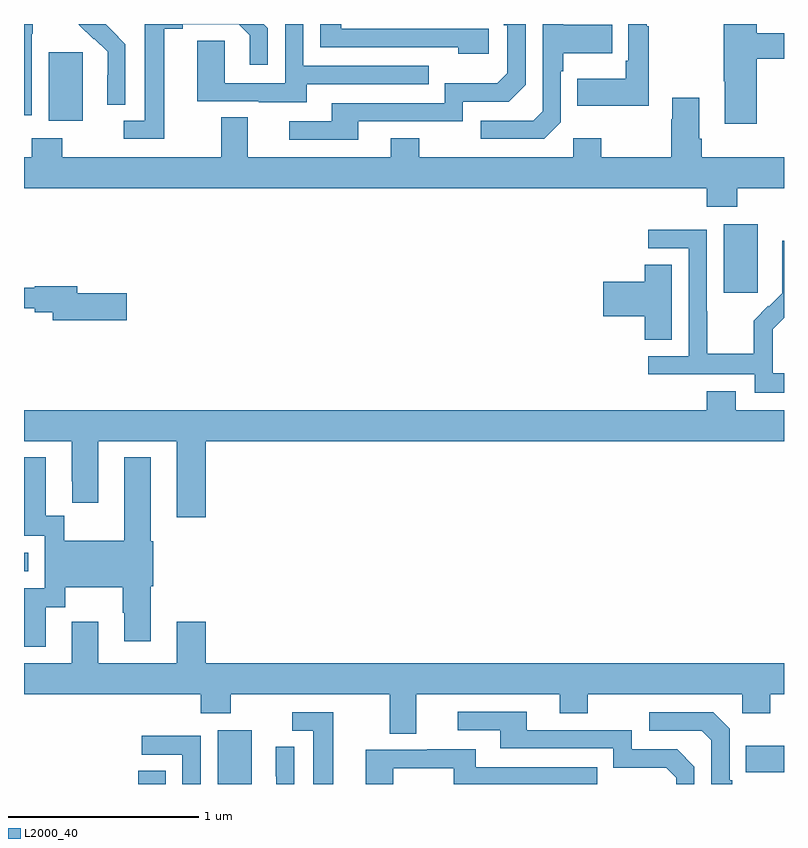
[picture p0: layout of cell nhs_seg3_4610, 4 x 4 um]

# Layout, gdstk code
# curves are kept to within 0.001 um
import gdstk
lib = gdstk.Library(unit=1e-6, precision=1e-09)
def R(c, l, rs):  # rectangles x0, y0, x1, y1
    for r in rs: c.add(gdstk.rectangle(r[:2], r[2:], *l))
def P(c, l, *ps):  # polygons
    for p in ps: c.add(gdstk.Polygon(p, *l))
L2000_40 = (2000, 40)

nhs_seg3_4610 = lib.new_cell('nhs_seg3_4610')
R(nhs_seg3_4610, L2000_40, [(357.602,744.4,357.745,744.47), (358.019,744.4,358.198,744.682), (360.799,744.461,361,744.601), (357,745.521,357.023,745.617), (360.683,746.985,360.862,747.346), (357.131,747.89,357.31,748.251)])
P(nhs_seg3_4610, L2000_40, [(358.489,748.083),(359.129,748.083),(359.129,748.179),(358.47,748.179),(358.47,748.4),(358.374,748.4),(358.374,748.089),(358.056,748.089),(358.056,748.313),(357.911,748.313),(357.911,747.993),(358.235,747.993),(358.235,747.989),(358.489,747.989)],
  [(359.826,747.882),(359.826,748.151),(359.839,748.151),(359.839,748.247),(360.095,748.247),(360.095,748.395),(359.839,748.395),(359.839,748.4),(359.73,748.4),(359.73,747.942),(359.679,747.891),(359.403,747.891),(359.403,747.795),(359.739,747.795)],
  [(360.289,748.387),(360.277,748.387),(360.277,748.4),(360.18,748.4),(360.18,748.207),(360.168,748.207),(360.168,748.111),(359.911,748.111),(359.911,747.971),(360.289,747.971)],
  [(359.446,748.374),(358.669,748.374),(358.669,748.4),(358.56,748.4),(358.56,748.278),(359.285,748.278),(359.285,748.244),(359.446,748.244)],
  [(357.534,748.294),(357.43,748.4),(357.289,748.4),(357.289,748.397),(357.366,748.32),(357.369,748.323),(357.44,748.253),(357.44,748.13),(357.438,748.13),(357.438,747.976),(357.534,747.976)],
  [(357.042,748.348),(357.045,748.348),(357.045,748.4),(357,748.4),(357,747.919),(357.042,747.919)],
  [(357.739,748.376),(357.835,748.376),(357.835,748.398),(358.13,748.398),(358.187,748.341),(358.187,748.185),(358.284,748.185),(358.284,748.378),(358.262,748.4),(357.634,748.4),(357.635,747.891),(357.525,747.891),(357.525,747.795),(357.739,747.795)],
  [(360.857,748.216),(361,748.216),(361,748.352),(360.857,748.352),(360.857,748.4),(360.682,748.4),(360.682,748.099),(360.689,748.099),(360.689,747.876),(360.857,747.876)],
  [(358.759,747.888),(359.31,747.888),(359.31,747.99),(359.55,747.99),(359.64,748.08),(359.64,748.4),(359.524,748.4),(359.524,748.394),(359.544,748.394),(359.544,748.14),(359.491,748.087),(359.214,748.087),(359.214,747.984),(358.619,747.984),(358.619,747.888),(358.395,747.888),(358.395,747.792),(358.759,747.792)],
  [(360.753,747.536),(361,747.536),(361,747.7),(360.566,747.7),(360.566,747.796),(360.553,747.796),(360.553,748.012),(360.413,748.012),(360.413,747.899),(360.406,747.899),(360.406,747.7),(360.039,747.7),(360.039,747.799),(359.892,747.799),(359.892,747.7),(359.079,747.7),(359.079,747.799),(358.931,747.799),(358.931,747.7),(358.177,747.7),(358.177,747.908),(358.037,747.908),(358.037,747.7),(357.201,747.7),(357.201,747.799),(357.041,747.799),(357.041,747.7),(357,747.7),(357,747.536),(360.593,747.536),(360.593,747.437),(360.753,747.437)],
  [(361,746.563),(360.942,746.563),(360.942,746.697),(360.94,746.697),(360.94,746.794),(361,746.854),(361,747.26),(360.99,747.26),(360.99,747.106),(360.992,747.106),(360.992,746.984),(360.921,746.913),(360.918,746.916),(360.841,746.839),(360.841,746.665),(360.597,746.665),(360.597,746.888),(360.594,746.888),(360.594,747.318),(360.285,747.318),(360.285,747.219),(360.498,747.219),(360.498,746.652),(360.285,746.652),(360.285,746.556),(360.846,746.556),(360.846,746.459),(361,746.459)],
  [(360.409,747.134),(360.266,747.134),(360.266,747.044),(360.048,747.044),(360.048,746.861),(360.266,746.861),(360.266,746.737),(360.409,746.737)],
  [(357.541,746.984),(357.28,746.984),(357.28,747.02),(357.056,747.02),(357.056,747.013),(357,747.013),(357,746.903),(357.056,746.903),(357.056,746.884),(357.152,746.884),(357.152,746.842),(357.541,746.842)],
  [(357.956,746.204),(361,746.204),(361,746.368),(360.745,746.368),(360.745,746.467),(360.593,746.467),(360.593,746.368),(357,746.368),(357,746.204),(357.251,746.204),(357.251,745.993),(357.254,745.993),(357.254,745.881),(357.391,745.881),(357.391,746.204),(357.803,746.204),(357.803,745.803),(357.956,745.803)],
  [(357.115,745.33),(357.217,745.33),(357.217,745.436),(357.52,745.436),(357.52,745.302),(357.527,745.302),(357.527,745.152),(357.667,745.152),(357.667,745.44),(357.68,745.44),(357.68,745.677),(357.667,745.677),(357.667,746.119),(357.527,746.119),(357.527,745.681),(357.213,745.681),(357.213,745.811),(357.115,745.811),(357.115,746.119),(357,746.119),(357,745.707),(357.108,745.707),(357.108,745.431),(357,745.431),(357,745.122),(357.115,745.122)],
  [(357.251,745.255),(357.251,745.036),(357,745.036),(357,744.872),(357.929,744.872),(357.929,744.773),(358.089,744.773),(358.089,744.872),(358.925,744.872),(358.925,744.664),(359.065,744.664),(359.065,744.872),(359.819,744.872),(359.819,744.773),(359.967,744.773),(359.967,744.872),(360.78,744.872),(360.78,744.773),(360.927,744.773),(360.927,744.872),(361,744.872),(361,745.036),(357.956,745.036),(357.956,745.255),(357.803,745.255),(357.803,745.036),(357.391,745.036),(357.391,745.255)],
  [(360.528,744.492),(360.438,744.582),(360.198,744.582),(360.198,744.684),(359.647,744.684),(359.647,744.78),(359.283,744.78),(359.283,744.684),(359.507,744.684),(359.507,744.588),(360.102,744.588),(360.102,744.485),(360.379,744.485),(360.432,744.432),(360.432,744.4),(360.528,744.4)],
  [(358.627,744.777),(358.413,744.777),(358.413,744.681),(358.523,744.681),(358.523,744.4),(358.627,744.4)],
  [(360.727,744.421),(360.714,744.421),(360.714,744.69),(360.627,744.777),(360.291,744.777),(360.291,744.681),(360.567,744.681),(360.618,744.63),(360.618,744.4),(360.727,744.4)],
  [(357.93,744.654),(357.621,744.654),(357.621,744.555),(357.834,744.555),(357.834,744.4),(357.93,744.4)],
  [(358.422,744.596),(358.326,744.596),(358.326,744.442),(358.328,744.442),(358.328,744.4),(358.422,744.4)],
  [(358.944,744.483),(359.262,744.483),(359.262,744.4),(360.017,744.4),(360.017,744.489),(359.377,744.489),(359.377,744.583),(359.123,744.583),(359.123,744.579),(358.799,744.579),(358.799,744.4),(358.944,744.4)])

lib.write_gds('nhs_seg3_4610.gds')
